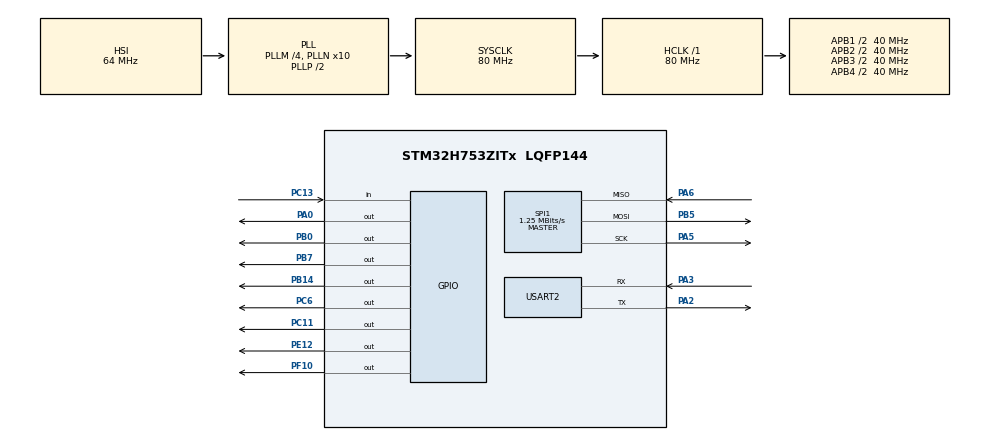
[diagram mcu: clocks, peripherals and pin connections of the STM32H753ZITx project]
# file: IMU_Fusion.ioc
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CORTEX_M7.CPU_DCache=Disabled
CORTEX_M7.CPU_ICache=Disabled
CORTEX_M7.MPU_Control=__NULL
CORTEX_M7.default_mode_Activation=1
Mcu.Family=STM32H7
Mcu.Name=STM32H753ZITx
Mcu.Package=LQFP144
NUCLEO-H753ZI.BUTTON=1
NUCLEO-H753ZI.LD1=true
NUCLEO-H753ZI.LD2=true
NUCLEO-H753ZI.LD3=true
NUCLEO-H753ZI.VCP=true
NVIC.EXTI15_10_IRQn=true\:0\:0\:false\:false\:true\:false\:true\:true
NVIC.PriorityGroup=NVIC_PRIORITYGROUP_4
PA0.PinState=GPIO_PIN_SET
PA0.Signal=GPIO_Output
PA2.Mode=Asynchronous
PA2.Signal=USART2_TX
PA3.Mode=Asynchronous
PA3.Signal=USART2_RX
PA5.Mode=Full_Duplex_Master
PA5.Signal=SPI1_SCK
PA6.Mode=Full_Duplex_Master
PA6.Signal=SPI1_MISO
PB0.Signal=GPIO_Output
PB14.Signal=GPIO_Output
PB5.Mode=Full_Duplex_Master
PB5.Signal=SPI1_MOSI
PB7.Signal=GPIO_Output
PC11.PinState=GPIO_PIN_SET
PC11.Signal=GPIO_Output
PC13.Signal=GPIO_Input
PC14-OSC32_IN\ (OSC32_IN).Signal=RCC_OSC32_IN
PC15-OSC32_OUT\ (OSC32_OUT).Signal=RCC_OSC32_OUT
PC6.PinState=GPIO_PIN_SET
PC6.Signal=GPIO_Output
PD8.Signal=USART3_TX
PD9.Signal=USART3_RX
PE12.PinState=GPIO_PIN_SET
PE12.Signal=GPIO_Output
PF10.PinState=GPIO_PIN_SET
PF10.Signal=GPIO_Output
PH0-OSC_IN\ (PH0).Signal=RCC_OSC_IN
PH1-OSC_OUT\ (PH1).Signal=RCC_OSC_OUT
ProjectManager.HeapSize=0x200
ProjectManager.StackSize=0x400
ProjectManager.TargetToolchain=STM32CubeIDE
RCC.ADCFreq_Value=129000000
RCC.APB1Freq_Value=40000000
RCC.APB2Freq_Value=40000000
RCC.APB3Freq_Value=40000000
RCC.APB4Freq_Value=40000000
RCC.CortexFreq_Value=80000000
RCC.D1PPRE=RCC_APB3_DIV2
RCC.D2PPRE1=RCC_APB1_DIV2
RCC.D2PPRE2=RCC_APB2_DIV2
RCC.D3PPRE=RCC_APB4_DIV2
RCC.DIVM1=4
RCC.DIVN1=10
RCC.DIVQ1=4
RCC.HCLKFreq_Value=80000000
RCC.HSE_VALUE=8000000
RCC.PLL2FRACN=0
RCC.PLL3FRACN=0
RCC.PLLFRACN=0
RCC.PWR_Regulator_Voltage_Scale=PWR_REGULATOR_VOLTAGE_SCALE1
RCC.SYSCLKFreq_VALUE=80000000
RCC.SYSCLKSource=RCC_SYSCLKSOURCE_PLLCLK
RCC.USBFreq_Value=40000000
SPI1.BaudRatePrescaler=SPI_BAUDRATEPRESCALER_32
SPI1.CalculateBaudRate=1.25 MBits/s
SPI1.DataSize=SPI_DATASIZE_8BIT
SPI1.Direction=SPI_DIRECTION_2LINES
SPI1.Mode=SPI_MODE_MASTER
SPI1.VirtualType=VM_MASTER
TIM2.Prescaler=99
USART2.VirtualMode-Asynchronous=VM_ASYNC
VP_MEMORYMAP_VS_MEMORYMAP.Mode=CurAppReg
VP_NUCLEO-H753ZI_VS_BSP_COMMON.Mode=COMMON
VP_TIM2_VS_ClockSourceINT.Mode=Internal
board=NUCLEO-H753ZI

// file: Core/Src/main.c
/* USER CODE BEGIN Header */
/**
  ******************************************************************************
  * @file           : main.c
  * @brief          : Main program body
  ******************************************************************************
  * @attention
  *
  * Copyright (c) 2026 STMicroelectronics.
  * All rights reserved.
  *
  * This software is licensed under terms that can be found in the LICENSE file
  * in the root directory of this software component.
  * If no LICENSE file comes with this software, it is provided AS-IS.
  *
  ******************************************************************************
  */
/* USER CODE END Header */
#include "main.h"

/* USER CODE BEGIN Includes */
#include <stdio.h>
#include <string.h>
/* USER CODE END Includes */

COM_InitTypeDef BspCOMInit;

SPI_HandleTypeDef hspi1;

TIM_HandleTypeDef htim2;

UART_HandleTypeDef huart2;

/* USER CODE BEGIN PV */
	// Registre LSM6DSR
	#define LSM6DSR_WHO_AM_I        0x0F
	#define LSM6DSR_CTRL1_XL        0x10  // Accelerometru config
	#define LSM6DSR_CTRL2_G         0x11  // Giroscop config
	#define LSM6DSR_OUTX_L_G        0x22  // Inceput date giroscop
	#define LSM6DSR_OUTX_L_A        0x28  // Inceput date accelerometru
	#define LSM6DSR_WHO_AM_I_VAL    0x6C  // Valoarea asteptata

	#define NUM_SENSORS 5
	#define READ_FLAG   0x80  // Bitul 7 pus pe  1 pentru citire SPI

	// Pinii CS pentru fiecare senzor
	GPIO_TypeDef* CS_PORT[NUM_SENSORS] = {GPIOC, GPIOC, GPIOA, GPIOF, GPIOE};
	uint16_t      CS_PIN[NUM_SENSORS]  = {GPIO_PIN_11, GPIO_PIN_6, GPIO_PIN_0, GPIO_PIN_10, GPIO_PIN_12};

	typedef struct {
		int16_t gx, gy, gz;        // Giroscop brut
		int16_t ax, ay, az;        // Accelerometru brut
		float gx_dps, gy_dps, gz_dps;  // Giroscop in grade/secunda
		float ax_g, ay_g, az_g;        // Accelerometru in g
		uint32_t timestamp_us;
	} IMU_Data;

	IMU_Data imu[NUM_SENSORS];

	// pentru dataset
	typedef struct __attribute__((packed)) {
	    uint8_t  header[4];        // 4 bytes header
	    uint32_t packet_id;
	    uint32_t timestamp_us[NUM_SENSORS];
	    float    gx[NUM_SENSORS], gy[NUM_SENSORS], gz[NUM_SENSORS];
	    float    ax[NUM_SENSORS], ay[NUM_SENSORS], az[NUM_SENSORS];
	    uint8_t  checksum;
	} UARTPacket;

	UARTPacket uart_packet;
	uint32_t packet_id = 0;
/* USER CODE END PV */

void SystemClock_Config(void);
static void MX_GPIO_Init(void);
static void MX_SPI1_Init(void);
static void MX_TIM2_Init(void);
static void MX_USART2_UART_Init(void);

/* USER CODE BEGIN 0 */
	void CS_Low(uint8_t sensor) {
		HAL_GPIO_WritePin(CS_PORT[sensor], CS_PIN[sensor], GPIO_PIN_RESET);
	}

	void CS_High(uint8_t sensor) {
		HAL_GPIO_WritePin(CS_PORT[sensor], CS_PIN[sensor], GPIO_PIN_SET);
	}

	void IMU_WriteReg(uint8_t sensor, uint8_t reg, uint8_t value) {
		uint8_t tx[2] = {reg & 0x7F, value};  // Bitul 7 pus pe 0 pentru scriere
		CS_Low(sensor);
		HAL_SPI_Transmit(&hspi1, tx, 2, HAL_MAX_DELAY);
		CS_High(sensor);
	}

	uint8_t IMU_ReadReg(uint8_t sensor, uint8_t reg) {
		uint8_t tx = reg | READ_FLAG;
		uint8_t rx = 0;
		CS_Low(sensor);
		HAL_SPI_Transmit(&hspi1, &tx, 1, HAL_MAX_DELAY);
		HAL_SPI_Receive(&hspi1, &rx, 1, HAL_MAX_DELAY);
		CS_High(sensor);
		return rx;
	}

	void IMU_ReadRegs(uint8_t sensor, uint8_t reg, uint8_t *buf, uint8_t len) {
		uint8_t tx = reg | READ_FLAG;
		CS_Low(sensor);
		HAL_SPI_Transmit(&hspi1, &tx, 1, HAL_MAX_DELAY);
		HAL_SPI_Receive(&hspi1, buf, len, HAL_MAX_DELAY);
		CS_High(sensor);
	}

	uint8_t IMU_Init(uint8_t sensor) {
		uint8_t who_am_i = IMU_ReadReg(sensor, LSM6DSR_WHO_AM_I);
		if (who_am_i != LSM6DSR_WHO_AM_I_VAL) {
			//printf("Senzor %d: WHO_AM_I gresit: 0x%02X\r\n", sensor + 1, who_am_i);
			return 0;
		}

		// Accelerometru: 104 Hz, +-4g
		IMU_WriteReg(sensor, LSM6DSR_CTRL1_XL, 0x48);
		// Giroscop: 104 Hz, +-500 dps
		IMU_WriteReg(sensor, LSM6DSR_CTRL2_G, 0x44);

		//printf("Senzor %d: initializat OK (WHO_AM_I=0x%02X)\r\n", sensor + 1, who_am_i);
		return 1;
	}

	void IMU_ReadData(uint8_t sensor) {
		uint8_t buf[12];

		imu[sensor].timestamp_us = __HAL_TIM_GET_COUNTER(&htim2);

		// Citeste giroscop (6 bytes) si accelerometru (6 bytes)
		IMU_ReadRegs(sensor, LSM6DSR_OUTX_L_G, buf, 12);

		imu[sensor].gx = (int16_t)(buf[1]  << 8 | buf[0]);
		imu[sensor].gy = (int16_t)(buf[3]  << 8 | buf[2]);
		imu[sensor].gz = (int16_t)(buf[5]  << 8 | buf[4]);
		imu[sensor].ax = (int16_t)(buf[7]  << 8 | buf[6]);
		imu[sensor].ay = (int16_t)(buf[9]  << 8 | buf[8]);
		imu[sensor].az = (int16_t)(buf[11] << 8 | buf[10]);

		// 500dps range cred ca e 17.5 mdps/LSB si tre sa impart la 1000 sa ajung la g
		float gyro_sens = 17.5f / 1000.0f;
		imu[sensor].gx_dps = imu[sensor].gx * gyro_sens;
		imu[sensor].gy_dps = imu[sensor].gy * gyro_sens;
		imu[sensor].gz_dps = imu[sensor].gz * gyro_sens;

		// 4g range cred ca e 0.122 mg/LSB, si tre sa impart la 1000 sa ajung la g
		float acc_sens = 0.122f / 1000.0f;
		imu[sensor].ax_g = imu[sensor].ax * acc_sens;
		imu[sensor].ay_g = imu[sensor].ay * acc_sens;
		imu[sensor].az_g = imu[sensor].az * acc_sens;
	}

	void IMU_PrintData(uint8_t sensor) {
		printf("Senzor %d | t=%lu us \r\n",
			   sensor + 1, imu[sensor].timestamp_us);
		printf("Gyro [dps]: X=%7.3f  Y=%7.3f  Z=%7.3f\r\n",
			   imu[sensor].gx_dps, imu[sensor].gy_dps, imu[sensor].gz_dps);
		printf("Accel [g]: X=%7.4f  Y=%7.4f  Z=%7.4f\r\n",
			   imu[sensor].ax_g, imu[sensor].ay_g, imu[sensor].az_g);
	}

	// pentru dataset

	uint8_t compute_checksum(uint8_t *data, uint16_t len) {
	    uint8_t cs = 0;
	    for (uint16_t i = 0; i < len; i++) cs ^= data[i];
	    return cs;
	}

	void UART_SendPacket(void) {
		uart_packet.header[0] = 0xAA;
		uart_packet.header[1] = 0xBB;
		uart_packet.header[2] = 0xCC;
		uart_packet.header[3] = 0xDD;
	    uart_packet.packet_id = packet_id++;

	    for (int i = 0; i < NUM_SENSORS; i++) {
	        uart_packet.timestamp_us[i] = imu[i].timestamp_us;
	        uart_packet.gx[i] = imu[i].gx_dps;
	        uart_packet.gy[i] = imu[i].gy_dps;
	        uart_packet.gz[i] = imu[i].gz_dps;
	        uart_packet.ax[i] = imu[i].ax_g;
	        uart_packet.ay[i] = imu[i].ay_g;
	        uart_packet.az[i] = imu[i].az_g;
	    }

	    uart_packet.checksum = compute_checksum(
	        (uint8_t*)&uart_packet,
	        sizeof(UARTPacket) - 1
	    );

	    HAL_UART_Transmit(&huart2,
	        (uint8_t*)&uart_packet,
	        sizeof(UARTPacket),
	        HAL_MAX_DELAY
	    );
	}

/* USER CODE END 0 */

int main(void)
{

  /* MCU Configuration--------------------------------------------------------*/

  /* Reset of all peripherals, Initializes the Flash interface and the Systick. */
  HAL_Init();

  /* Configure the system clock */
  SystemClock_Config();

  /* Initialize all configured peripherals */
  MX_GPIO_Init();
  MX_SPI1_Init();
  MX_TIM2_Init();
  MX_USART2_UART_Init();
  /* USER CODE BEGIN 2 */
	  HAL_TIM_Base_Start(&htim2);
	  // Toti CS ridicati la inceput (idle HIGH)
	  for (int i = 0; i < NUM_SENSORS; i++) CS_High(i);
	  HAL_Delay(10);

	  // Initializare senzori
	  uint8_t sensor_ok[NUM_SENSORS];
	  for (int i = 0; i < NUM_SENSORS; i++) {
		  sensor_ok[i] = IMU_Init(i);
	  }
	  uint8_t size_check = sizeof(UARTPacket);
	  HAL_Delay(2000);
  /* USER CODE END 2 */

  /* Initialize leds */
  BSP_LED_Init(LED_GREEN);
  BSP_LED_Init(LED_BLUE);
  BSP_LED_Init(LED_RED);

  /* Initialize USER push-button, will be used to trigger an interrupt each time it's pressed.*/
  BSP_PB_Init(BUTTON_USER, BUTTON_MODE_EXTI);

  /* Initialize COM1 port (115200, 8 bits (7-bit data + 1 stop bit), no parity */
  BspCOMInit.BaudRate   = 115200;
  BspCOMInit.WordLength = COM_WORDLENGTH_8B;
  BspCOMInit.StopBits   = COM_STOPBITS_1;
  BspCOMInit.Parity     = COM_PARITY_NONE;
  BspCOMInit.HwFlowCtl  = COM_HWCONTROL_NONE;
  if (BSP_COM_Init(COM1, &BspCOMInit) != BSP_ERROR_NONE)
  {
    Error_Handler();
  }

  /* Infinite loop */
  /* USER CODE BEGIN WHILE */
	  while (1)
	  {
		  for (int i = 0; i < NUM_SENSORS; i++) {
		      if (sensor_ok[i]) {
		          IMU_ReadData(i);
		          //IMU_PrintData(i);
		      }
		  }
		  UART_SendPacket();
		  //printf("\r\n");
		  HAL_Delay(50);
    /* USER CODE END WHILE */

	  }
}

void SystemClock_Config(void)
{
  RCC_OscInitTypeDef RCC_OscInitStruct = {0};
  RCC_ClkInitTypeDef RCC_ClkInitStruct = {0};

  /** Supply configuration update enable
  */
  HAL_PWREx_ConfigSupply(PWR_LDO_SUPPLY);

  /** Configure the main internal regulator output voltage
  */
  __HAL_PWR_VOLTAGESCALING_CONFIG(PWR_REGULATOR_VOLTAGE_SCALE1);

  while(!__HAL_PWR_GET_FLAG(PWR_FLAG_VOSRDY)) {}

  /** Initializes the RCC Oscillators according to the specified parameters
  * in the RCC_OscInitTypeDef structure.
  */
  RCC_OscInitStruct.OscillatorType = RCC_OSCILLATORTYPE_HSI;
  RCC_OscInitStruct.HSIState = RCC_HSI_DIV1;
  RCC_OscInitStruct.HSICalibrationValue = RCC_HSICALIBRATION_DEFAULT;
  RCC_OscInitStruct.PLL.PLLState = RCC_PLL_ON;
  RCC_OscInitStruct.PLL.PLLSource = RCC_PLLSOURCE_HSI;
  RCC_OscInitStruct.PLL.PLLM = 4;
  RCC_OscInitStruct.PLL.PLLN = 10;
  RCC_OscInitStruct.PLL.PLLP = 2;
  RCC_OscInitStruct.PLL.PLLQ = 4;
  RCC_OscInitStruct.PLL.PLLR = 2;
  RCC_OscInitStruct.PLL.PLLRGE = RCC_PLL1VCIRANGE_3;
  RCC_OscInitStruct.PLL.PLLVCOSEL = RCC_PLL1VCOMEDIUM;
  RCC_OscInitStruct.PLL.PLLFRACN = 0;
  if (HAL_RCC_OscConfig(&RCC_OscInitStruct) != HAL_OK)
  {
    Error_Handler();
  }

  /** Initializes the CPU, AHB and APB buses clocks
  */
  RCC_ClkInitStruct.ClockType = RCC_CLOCKTYPE_HCLK|RCC_CLOCKTYPE_SYSCLK
                              |RCC_CLOCKTYPE_PCLK1|RCC_CLOCKTYPE_PCLK2
                              |RCC_CLOCKTYPE_D3PCLK1|RCC_CLOCKTYPE_D1PCLK1;
  RCC_ClkInitStruct.SYSCLKSource = RCC_SYSCLKSOURCE_PLLCLK;
  RCC_ClkInitStruct.SYSCLKDivider = RCC_SYSCLK_DIV1;
  RCC_ClkInitStruct.AHBCLKDivider = RCC_HCLK_DIV1;
  RCC_ClkInitStruct.APB3CLKDivider = RCC_APB3_DIV2;
  RCC_ClkInitStruct.APB1CLKDivider = RCC_APB1_DIV2;
  RCC_ClkInitStruct.APB2CLKDivider = RCC_APB2_DIV2;
  RCC_ClkInitStruct.APB4CLKDivider = RCC_APB4_DIV2;

  if (HAL_RCC_ClockConfig(&RCC_ClkInitStruct, FLASH_LATENCY_1) != HAL_OK)
  {
    Error_Handler();
  }
}

static void MX_SPI1_Init(void)
{

  /* SPI1 parameter configuration*/
  hspi1.Instance = SPI1;
  hspi1.Init.Mode = SPI_MODE_MASTER;
  hspi1.Init.Direction = SPI_DIRECTION_2LINES;
  hspi1.Init.DataSize = SPI_DATASIZE_8BIT;
  hspi1.Init.CLKPolarity = SPI_POLARITY_LOW;
  hspi1.Init.CLKPhase = SPI_PHASE_1EDGE;
  hspi1.Init.NSS = SPI_NSS_SOFT;
  hspi1.Init.BaudRatePrescaler = SPI_BAUDRATEPRESCALER_32;
  hspi1.Init.FirstBit = SPI_FIRSTBIT_MSB;
  hspi1.Init.TIMode = SPI_TIMODE_DISABLE;
  hspi1.Init.CRCCalculation = SPI_CRCCALCULATION_DISABLE;
  hspi1.Init.CRCPolynomial = 0x0;
  hspi1.Init.NSSPMode = SPI_NSS_PULSE_ENABLE;
  hspi1.Init.NSSPolarity = SPI_NSS_POLARITY_LOW;
  hspi1.Init.FifoThreshold = SPI_FIFO_THRESHOLD_01DATA;
  hspi1.Init.TxCRCInitializationPattern = SPI_CRC_INITIALIZATION_ALL_ZERO_PATTERN;
  hspi1.Init.RxCRCInitializationPattern = SPI_CRC_INITIALIZATION_ALL_ZERO_PATTERN;
  hspi1.Init.MasterSSIdleness = SPI_MASTER_SS_IDLENESS_00CYCLE;
  hspi1.Init.MasterInterDataIdleness = SPI_MASTER_INTERDATA_IDLENESS_00CYCLE;
  hspi1.Init.MasterReceiverAutoSusp = SPI_MASTER_RX_AUTOSUSP_DISABLE;
  hspi1.Init.MasterKeepIOState = SPI_MASTER_KEEP_IO_STATE_DISABLE;
  hspi1.Init.IOSwap = SPI_IO_SWAP_DISABLE;
  if (HAL_SPI_Init(&hspi1) != HAL_OK)
  {
    Error_Handler();
  }

}

static void MX_TIM2_Init(void)
{

  TIM_ClockConfigTypeDef sClockSourceConfig = {0};
  TIM_MasterConfigTypeDef sMasterConfig = {0};

  htim2.Instance = TIM2;
  htim2.Init.Prescaler = 79;
  htim2.Init.CounterMode = TIM_COUNTERMODE_UP;
  htim2.Init.Period = 4294967295;
  htim2.Init.ClockDivision = TIM_CLOCKDIVISION_DIV1;
  htim2.Init.AutoReloadPreload = TIM_AUTORELOAD_PRELOAD_DISABLE;
  if (HAL_TIM_Base_Init(&htim2) != HAL_OK)
  {
    Error_Handler();
  }
  sClockSourceConfig.ClockSource = TIM_CLOCKSOURCE_INTERNAL;
  if (HAL_TIM_ConfigClockSource(&htim2, &sClockSourceConfig) != HAL_OK)
  {
    Error_Handler();
  }
  sMasterConfig.MasterOutputTrigger = TIM_TRGO_RESET;
  sMasterConfig.MasterSlaveMode = TIM_MASTERSLAVEMODE_DISABLE;
  if (HAL_TIMEx_MasterConfigSynchronization(&htim2, &sMasterConfig) != HAL_OK)
  {
    Error_Handler();
  }

}

static void MX_USART2_UART_Init(void)
{

  huart2.Instance = USART2;
  huart2.Init.BaudRate = 115200;
  huart2.Init.WordLength = UART_WORDLENGTH_8B;
  huart2.Init.StopBits = UART_STOPBITS_1;
  huart2.Init.Parity = UART_PARITY_NONE;
  huart2.Init.Mode = UART_MODE_TX_RX;
  huart2.Init.HwFlowCtl = UART_HWCONTROL_NONE;
  huart2.Init.OverSampling = UART_OVERSAMPLING_16;
  huart2.Init.OneBitSampling = UART_ONE_BIT_SAMPLE_DISABLE;
  huart2.Init.ClockPrescaler = UART_PRESCALER_DIV1;
  huart2.AdvancedInit.AdvFeatureInit = UART_ADVFEATURE_NO_INIT;
  if (HAL_UART_Init(&huart2) != HAL_OK)
  {
    Error_Handler();
  }
  if (HAL_UARTEx_SetTxFifoThreshold(&huart2, UART_TXFIFO_THRESHOLD_1_8) != HAL_OK)
  {
    Error_Handler();
  }
  if (HAL_UARTEx_SetRxFifoThreshold(&huart2, UART_RXFIFO_THRESHOLD_1_8) != HAL_OK)
  {
    Error_Handler();
  }
  if (HAL_UARTEx_DisableFifoMode(&huart2) != HAL_OK)
  {
    Error_Handler();
  }

}

static void MX_GPIO_Init(void)
{
  GPIO_InitTypeDef GPIO_InitStruct = {0};

  /* GPIO Ports Clock Enable */
  __HAL_RCC_GPIOC_CLK_ENABLE();
  __HAL_RCC_GPIOF_CLK_ENABLE();
  __HAL_RCC_GPIOH_CLK_ENABLE();
  __HAL_RCC_GPIOA_CLK_ENABLE();
  __HAL_RCC_GPIOE_CLK_ENABLE();
  __HAL_RCC_GPIOB_CLK_ENABLE();

  /*Configure GPIO pin Output Level */
  HAL_GPIO_WritePin(GPIOF, GPIO_PIN_10, GPIO_PIN_SET);

  /*Configure GPIO pin Output Level */
  HAL_GPIO_WritePin(GPIOA, GPIO_PIN_0, GPIO_PIN_SET);

  /*Configure GPIO pin Output Level */
  HAL_GPIO_WritePin(GPIOE, GPIO_PIN_12, GPIO_PIN_SET);

  /*Configure GPIO pin Output Level */
  HAL_GPIO_WritePin(GPIOC, GPIO_PIN_6|GPIO_PIN_11, GPIO_PIN_SET);

  /*Configure GPIO pin : PF10 */
  GPIO_InitStruct.Pin = GPIO_PIN_10;
  GPIO_InitStruct.Mode = GPIO_MODE_OUTPUT_PP;
  GPIO_InitStruct.Pull = GPIO_NOPULL;
  GPIO_InitStruct.Speed = GPIO_SPEED_FREQ_LOW;
  HAL_GPIO_Init(GPIOF, &GPIO_InitStruct);

  /*Configure GPIO pin : PA0 */
  GPIO_InitStruct.Pin = GPIO_PIN_0;
  GPIO_InitStruct.Mode = GPIO_MODE_OUTPUT_PP;
  GPIO_InitStruct.Pull = GPIO_NOPULL;
  GPIO_InitStruct.Speed = GPIO_SPEED_FREQ_LOW;
  HAL_GPIO_Init(GPIOA, &GPIO_InitStruct);

  /*Configure GPIO pin : PE12 */
  GPIO_InitStruct.Pin = GPIO_PIN_12;
  GPIO_InitStruct.Mode = GPIO_MODE_OUTPUT_PP;
  GPIO_InitStruct.Pull = GPIO_NOPULL;
  GPIO_InitStruct.Speed = GPIO_SPEED_FREQ_LOW;
  HAL_GPIO_Init(GPIOE, &GPIO_InitStruct);

  /*Configure GPIO pins : PC6 PC11 */
  GPIO_InitStruct.Pin = GPIO_PIN_6|GPIO_PIN_11;
  GPIO_InitStruct.Mode = GPIO_MODE_OUTPUT_PP;
  GPIO_InitStruct.Pull = GPIO_NOPULL;
  GPIO_InitStruct.Speed = GPIO_SPEED_FREQ_LOW;
  HAL_GPIO_Init(GPIOC, &GPIO_InitStruct);

  /*AnalogSwitch Config */
  HAL_SYSCFG_AnalogSwitchConfig(SYSCFG_SWITCH_PA0, SYSCFG_SWITCH_PA0_CLOSE);

}

/* USER CODE BEGIN 4 */
int _write(int file, char *ptr, int len)
{
	HAL_UART_Transmit(&huart2, (uint8_t*)ptr, len, HAL_MAX_DELAY);
	for (int i = 0; i < len; i++) ITM_SendChar(ptr[i]);
	    return len;
}
/* USER CODE END 4 */

void Error_Handler(void)
{
  __disable_irq();
  while (1)
  {
  }
}
